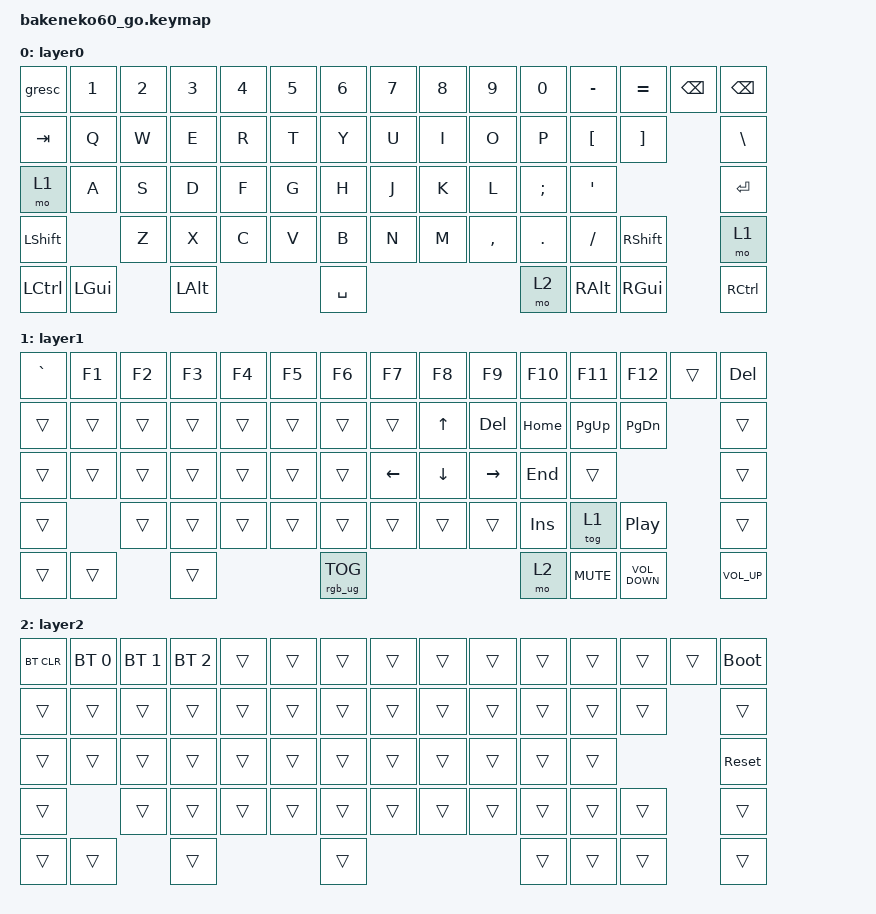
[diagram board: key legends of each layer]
/*
 * Copyright (c) 2023 Andrew Kannan
 *
 * SPDX-License-Identifier: MIT
 */

#include <behaviors.dtsi>
#include <dt-bindings/zmk/bt.h>
#include <dt-bindings/zmk/keys.h>
#include <dt-bindings/zmk/rgb.h>

/ {
    keymap {
        compatible = "zmk,keymap";

        layer0 {
            // ------------------------------------------------------------------------------------------
            // | ESC |  1  |  2  |  3  |  4  |  5  |  6  |  7  |  8  |  9  |  0  |  -  |  =  | BKSP|BKSP|
            // | TAB  |  Q  |  W  |  E  |  R  |  T  |  Y  |  U  |  I  |  O  |  P  |  [  |  ]  |   "|"   |
            // | CAPS  |  A  |  S  |  D  |  F  |  G  |  H  |  J  |  K  |  L  |  ;  |  '  |     ENTER    |
            // |  SHIFT  |  Z  |  X  |  C  |  V  |  B  |  N  |  M  |  ,  |  .  |  /  |  SHIFT  | MO(1)  |
            // |  CTL  |  WIN  |  ALT  |            SPACE              |  ALT  |  WIN  |  MO(1) |  CTL  |
            // ------------------------------------------------------------------------------------------

            bindings = <
&gresc     &kp N1    &kp N2  &kp N3    &kp N4  &kp N5  &kp N6     &kp N7  &kp N8  &kp N9     &kp N0    &kp MINUS      &kp EQUAL      &kp BSPC  &kp BSPC
&kp TAB    &kp Q     &kp W   &kp E     &kp R   &kp T   &kp Y      &kp U   &kp I   &kp O      &kp P     &kp LBKT       &kp RBKT                 &kp BSLH
&mo 1      &kp A     &kp S   &kp D     &kp F   &kp G   &kp H      &kp J   &kp K   &kp L      &kp SEMI  &kp SQT                                 &kp RET
&kp LSHFT            &kp Z   &kp X     &kp C   &kp V   &kp B      &kp N   &kp M   &kp COMMA  &kp DOT   &kp FSLH       &kp RSHFT                &mo 1
&kp LCTRL  &kp LGUI          &kp LALT                  &kp SPACE                             &mo 2     &kp RIGHT_ALT  &kp RIGHT_GUI            &kp RCTRL
            >;
        };

        layer1 {
            // ------------------------------------------------------------------------------------------------
            // |    `   | F1  | F2  | F3  | F4  | F5  | F6  | F7  | F8  | F9  | F10  | F11 | F12 |     | DEL  |
            // | EFCT REV|   |  UP |   | HUEUP | SATUP | BRIUP | SPDUP |      |  PGUP |    |     |    |       |
            // | EFCT FWD | LT |  DN  | RT | HUEDN | SATDN | BRIDN | SPDDN | HOME | PGDN | END  |  | BOOTLDR  |
            // |             |     |      |      |     |     |     |     |     |     |     |         |        |
            // |         |      |      |             TOG RGB                | PRT SCR |       |       |  MO(2)|
            // ------------------------------------------------------------------------------------------------

            bindings = <
&kp GRAVE  &kp F1  &kp F2  &kp F3  &kp F4  &kp F5  &kp F6           &kp F7          &kp F8          &kp F9           &kp F10     &kp F11      &kp F12            &trans  &kp DEL
&trans     &trans  &trans  &trans  &trans  &trans  &trans           &trans          &kp UP_ARROW    &kp DELETE       &kp HOME    &kp PAGE_UP  &kp PAGE_DOWN              &trans
&trans     &trans  &trans  &trans  &trans  &trans  &trans           &kp LEFT_ARROW  &kp DOWN_ARROW  &kp RIGHT_ARROW  &kp END     &trans                                  &trans
&trans             &trans  &trans  &trans  &trans  &trans           &trans          &trans          &trans           &kp INSERT  &tog 1       &kp C_PLAY_PAUSE           &trans
&trans     &trans          &trans                  &rgb_ug RGB_TOG                                                   &mo 2       &kp K_MUTE   &kp C_VOLUME_DOWN          &kp C_VOLUME_UP
            >;
        };

        layer2 {
            // ------------------------------------------------------------------------------------------------
            // | BT CLR |     |     |     |     |     |     |     |     |     |     |    |    |       |       |
            // |  BT 1   |   |     |   |       |       |       |       |   |     |    |     |     |           |
            // |   BT 2   |    |      |    |       |       |       |       |      |      |      |  |   Reset  |
            // |    BT 3     |     |      |      |     |     |     |     |     |     |     |         |        |
            // |   BT 4  |      |      |                                    |         |       |       |       |
            // ------------------------------------------------------------------------------------------------

            bindings = <
&bt BT_CLR  &bt BT_SEL 0  &bt BT_SEL 1  &bt BT_SEL 2  &trans  &trans  &trans  &trans  &trans  &trans  &trans  &trans  &trans  &trans  &bootloader
&trans      &trans        &trans        &trans        &trans  &trans  &trans  &trans  &trans  &trans  &trans  &trans  &trans          &trans
&trans      &trans        &trans        &trans        &trans  &trans  &trans  &trans  &trans  &trans  &trans  &trans                  &sys_reset
&trans                    &trans        &trans        &trans  &trans  &trans  &trans  &trans  &trans  &trans  &trans  &trans          &trans
&trans      &trans                      &trans                        &trans                          &trans  &trans  &trans          &trans
            >;
        };
    };

    combos {
        compatible = "zmk,combos";

        combo_bt {
            timeout-ms = <50>;
            key-positions = <61 62>;
            bindings = <&mo 2>;
        };
    };
};
